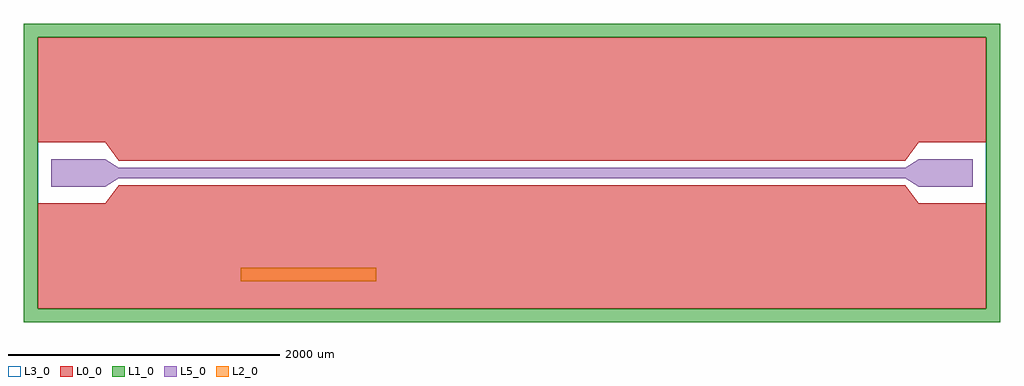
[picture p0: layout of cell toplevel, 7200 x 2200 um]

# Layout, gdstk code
import gdstk
lib = gdstk.Library(unit=1e-6, precision=1e-09)
def R(c, l, rs):  # rectangles x0, y0, x1, y1
    for r in rs: c.add(gdstk.rectangle(r[:2], r[2:], *l))
def P(c, l, *ps):  # polygons
    for p in ps: c.add(gdstk.Polygon(p, *l))
L0_0 = (0, 0)
L1_0 = (1, 0)
L2_0 = (2, 0)
L3_0 = (3, 0)
L5_0 = (5, 0)

toplevel = lib.new_cell('toplevel')
P(toplevel, L0_0, [(3500,1000),(-3500,1000),(-3500,225),(-3000,225),(-2900,90),(2900,90),(3000,225),(3500,225)],
  [(2900,-90),(-2900,-90),(-3000,-225),(-3500,-225),(-3500,-1000),(3500,-1000),(3500,-225),(3000,-225)])
P(toplevel, L1_0, [(3600,1100),(-3600,1100),(-3600,-1000),(-3500,-1000),(-3500,1000),(3500,1000),(3500,-1000),(-3500,-1000),(-3600,-1000),(-3600,-1100),(3600,-1100)])
R(toplevel, L2_0, [(-2000,-800,-1000,-700)])
R(toplevel, L3_0, [(-3500,-1000,3500,1000)])
P(toplevel, L5_0, [(-2900,40),(-3000,100),(-3400,100),(-3400,-100),(-3000,-100),(-2900,-40),(2900,-40),(3000,-100),(3400,-100),(3400,100),(3000,100),(2900,40)])

lib.write_gds('toplevel.gds')
